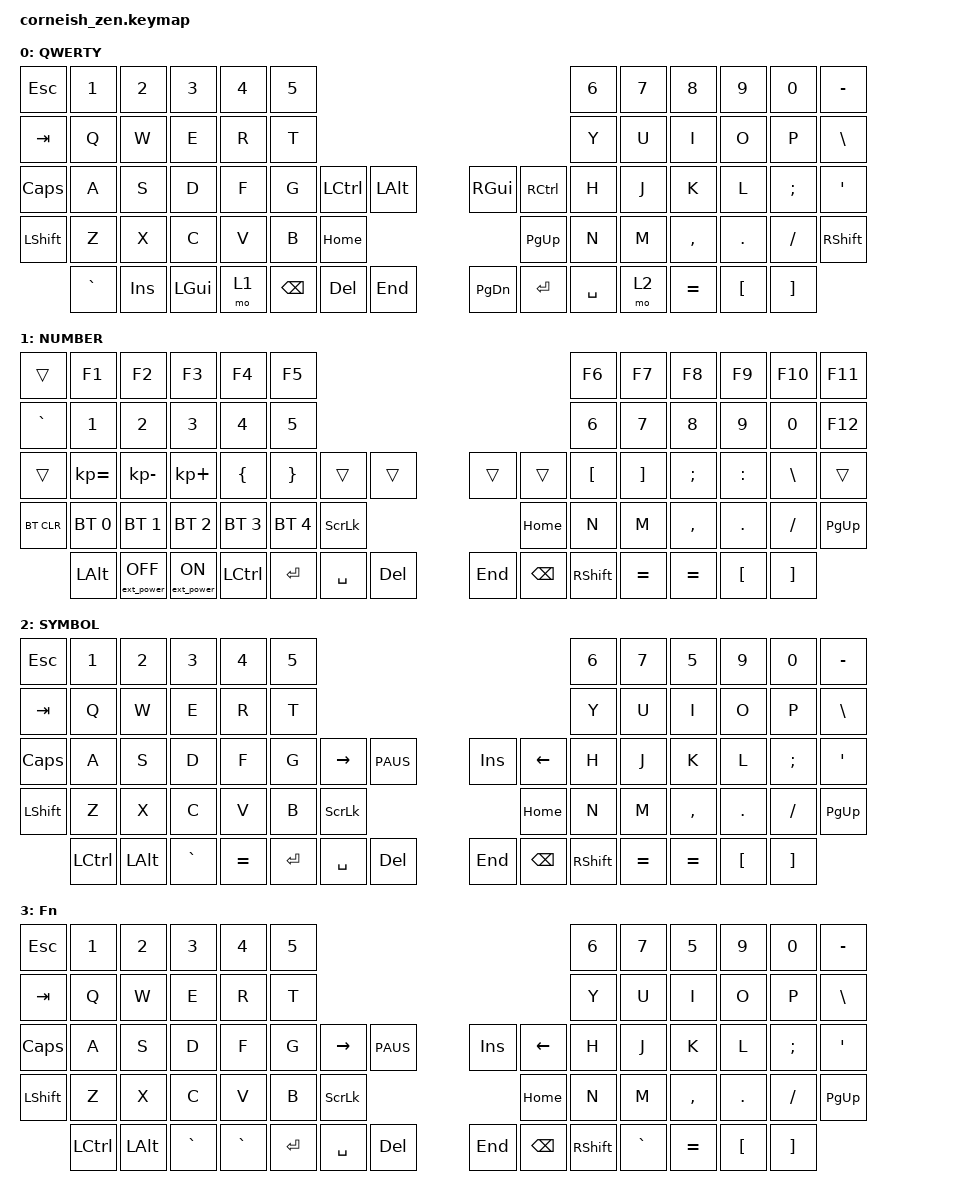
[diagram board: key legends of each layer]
/*
 * Copyright (c) 2020 The ZMK Contributors
 *
 * SPDX-License-Identifier: MIT
 */

#include <behaviors.dtsi>
#include <dt-bindings/zmk/bt.h>
#include <dt-bindings/zmk/ext_power.h>
#include <dt-bindings/zmk/keys.h>
#include <dt-bindings/zmk/outputs.h>
#include <dt-bindings/zmk/rgb.h>

/ {
    chosen {
        zmk,matrix_transform = &default_transform;

        // zmk,matrix_transform = &five_column_transform;
    };
};

/ {
    behaviors {
        td0: td0 {
            compatible = "zmk,behavior-tap-dance";
            label = "TD0";
            #binding-cells = <0>;
            bindings = <&kp LEFT_SHIFT>, <&kp CAPS>;
        };
    };

    keymap {
        compatible = "zmk,keymap";

        default_layer {
            display-name = "QWERTY";

            

            bindings = <
        &kp ESC        &kp N1    &kp N2   &kp N3    &kp N4    &kp N5                                                                              &kp N6  &kp N7        &kp N8    &kp N9    &kp N0   &kp MINUS
    &kp TAB        &kp Q     &kp W    &kp E     &kp R     &kp T                                                                               &kp Y   &kp U         &kp I     &kp O     &kp P    &kp BSLH
    &kp CLCK       &kp A     &kp S    &kp D     &kp F     &kp G            &kp LCTRL &kp LALT             &kp RIGHT_GUI &kp RCTRL             &kp H   &kp J         &kp K     &kp L     &kp SEMI &kp SQT
    &kp LSHFT      &kp Z     &kp X    &kp C     &kp V     &kp B                      &kp HOME              &kp PG_UP                          &kp N   &kp M         &kp COMMA &kp DOT   &kp FSLH &kp RSHFT 
                   &kp GRAVE  &kp INSERT &kp LGUI  &mo 1          &kp BSPC  &kp DELETE &kp END            &kp PG_DN &kp ENTER &kp SPACE                 &mo 2     &kp EQUAL &kp LBKT  &kp RBKT   
                                                         
            >;
        };

        lower_layer {
            display-name = "NUMBER";

            

            bindings = <
        &trans    &kp F1    &kp F2    &kp F3      &kp F4    &kp F5                                                                                 &kp F6    &kp F7   &kp F8          &kp F9    &kp F10   &kp F11
        &kp GRAVE &kp N1    &kp N2    &kp N3      &kp N4    &kp N5                                                                                 &kp N6    &kp N7   &kp N8          &kp N9    &kp N0    &kp F12
        &trans    &kp KP_EQUAL &kp KP_MINUS &kp KP_PLUS &kp LBRC &kp RBRC &trans &trans                          &trans &trans             &kp LBKT            &kp RBKT &kp SEMI        &kp COLON &kp BSLH  &trans
    &bt BT_CLR    &bt BT_SEL 0    &bt BT_SEL 1    &bt BT_SEL 2    &bt BT_SEL 3    &bt BT_SEL 4                      &kp SLCK              &kp HOME     &kp N   &kp M         &kp COMMA &kp DOT   &kp FSLH &kp PG_UP
                    &kp LALT &ext_power EP_OFF  &ext_power EP_ON &kp LCTRL       &kp ENTER  &kp SPACE &kp DELETE            &kp END &kp BSPC &kp RSHFT                 &kp EQUAL     &kp EQUAL &kp LBKT  &kp RBKT       
 
>;
        };

        raise_layer {
            display-name = "SYMBOL";

            

            bindings = <
        &kp ESC        &kp N1    &kp N2   &kp N3    &kp N4    &kp N5                                                                              &kp N6  &kp N7        &kp N5    &kp N9    &kp N0   &kp MINUS
    &kp TAB        &kp Q     &kp W    &kp E     &kp R     &kp T                                                                               &kp Y   &kp U         &kp I     &kp O     &kp P    &kp BSLH
    &kp CLCK       &kp A     &kp S    &kp D     &kp F     &kp G            &kp RIGHT &kp PAUS             &kp INSERT &kp LEFT                &kp H   &kp J         &kp K     &kp L     &kp SEMI &kp SQT
    &kp LSHFT      &kp Z     &kp X    &kp C     &kp V     &kp B                      &kp SLCK              &kp HOME                           &kp N   &kp M         &kp COMMA &kp DOT   &kp FSLH &kp PG_UP
                   &kp LCTRL  &kp LALT &kp GRAVE &kp EQUAL       &kp ENTER  &kp SPACE &kp DELETE            &kp END &kp BSPC &kp RSHFT                 &kp EQUAL     &kp EQUAL &kp LBKT  &kp RBKT        
                       

            >;
        };

        layer_3 {
            display-name = "Fn";
            bindings = <
 &kp ESC        &kp N1    &kp N2   &kp N3    &kp N4    &kp N5                                                                              &kp N6  &kp N7        &kp N5    &kp N9    &kp N0   &kp MINUS
    &kp TAB        &kp Q     &kp W    &kp E     &kp R     &kp T                                                                               &kp Y   &kp U         &kp I     &kp O     &kp P    &kp BSLH
    &kp CLCK       &kp A     &kp S    &kp D     &kp F     &kp G            &kp RIGHT &kp PAUS             &kp INSERT &kp LEFT                &kp H   &kp J         &kp K     &kp L     &kp SEMI &kp SQT
    &kp LSHFT      &kp Z     &kp X    &kp C     &kp V     &kp B                      &kp SLCK              &kp HOME                           &kp N   &kp M         &kp COMMA &kp DOT   &kp FSLH &kp PG_UP
                   &kp LCTRL  &kp LALT &kp GRAVE &kp GRAVE      &kp ENTER  &kp SPACE &kp DELETE            &kp END &kp BSPC &kp RSHFT                 &kp GRAVE     &kp EQUAL &kp LBKT  &kp RBKT        
            >;
        };
    };
};
